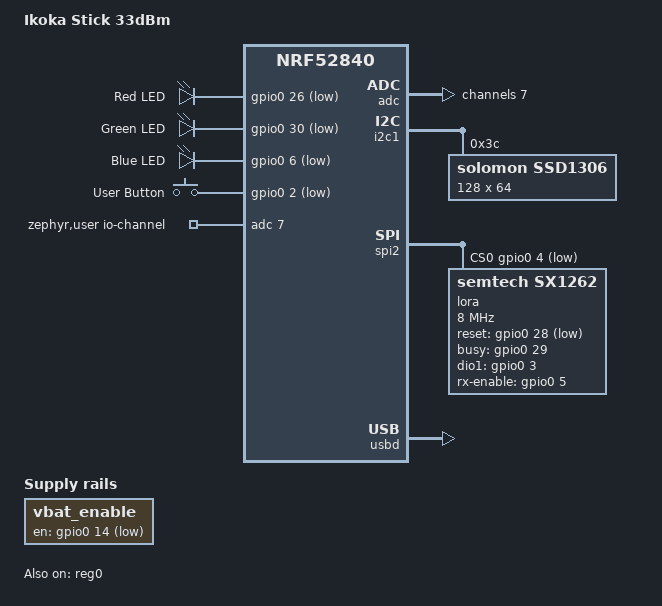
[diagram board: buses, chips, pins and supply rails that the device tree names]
/*
 * SPDX-License-Identifier: Apache-2.0
 * Ikoka Stick 33dBm - XIAO nRF52840 + E22-900M33S LoRa module
 *
 * Reference: https://ndoo.sg/projects:amateur_radio:meshtastic:diy_devices:ikoka_stick
 *
 * E22-900M33S LoRa Module:
 * - SX1262 with integrated 33 dBm (2 W) PA
 * - RXEN (P0.05 / D5) control: HIGH for RX, LOW for TX
 * - SX1262 input power limited to 9 dBm (33 dBm output) — higher values
 *   will permanently damage the module's RF frontend.
 * - DIO2 as RF switch, TCXO 1.8V
 *
 * Pin Mapping (XIAO D-pins to nRF52840 GPIOs):
 *   D0  = P0.02 (User button)   D4 = P0.04 (SX1262 NSS)   D8  = P1.13 (SCK)
 *   D1  = P0.03 (SX1262 DIO1)   D5 = P0.05 (PA RXEN)      D9  = P1.14 (MISO)
 *   D2  = P0.28 (SX1262 RESET)  D6 = P1.11 (I2C SDA)      D10 = P1.15 (MOSI)
 *   D3  = P0.29 (SX1262 BUSY)   D7 = P1.12 (I2C SCL)
 *
 * Peripherals:
 * - User button on D0 with long-press (deep sleep) + multi-tap actions
 * - Optional SSD1306 0.96" OLED @ 0x3C on I2C1 (auto-detected at boot)
 * - Battery ADC on AIN7 (P0.31), enable on P0.14
 * - LEDs: RED=P0.26/D11, BLUE=P0.06/D12, GREEN=P0.30/D13
 */

/dts-v1/;
#include <nordic/nrf52840_qiaa.dtsi>
#include "ikoka_stick_33dbm-pinctrl.dtsi"
#include <zephyr/dt-bindings/adc/nrf-saadc.h>
#include <zephyr/dt-bindings/lora/sx126x.h>

/ {
	model = "Ikoka Stick 33dBm";
	compatible = "ikoka,stick-33dbm";

	chosen {
		zephyr,sram = &sram0;
		zephyr,flash = &flash0;
		zephyr,code-partition = &code_partition;
		zephyr,console = &cdc_acm_uart;
		zephyr,shell-uart = &cdc_acm_uart;
		zephyr,display = &ssd1306;
	};

	aliases {
		lora0 = &lora;
		led0 = &led_red;
		led1 = &led_green;
		led2 = &led_blue;
		watchdog0 = &wdt0;
	};

	/* Status LEDs - active LOW on XIAO */
	leds {
		compatible = "gpio-leds";
		led_red: led_0 {
			gpios = <&gpio0 26 GPIO_ACTIVE_LOW>;
			label = "Red LED";
		};
		led_green: led_1 {
			gpios = <&gpio0 30 GPIO_ACTIVE_LOW>;
			label = "Green LED";
		};
		led_blue: led_2 {
			gpios = <&gpio0 6 GPIO_ACTIVE_LOW>;
			label = "Blue LED";
		};
	};

	/* User button on D0 (P0.02), active LOW with internal pull-up.
	 * Matches the pinout of the Seeed XIAO nRF52840 base board. */
	buttons: buttons {
		compatible = "gpio-keys";

		user_button: button_0 {
			gpios = <&gpio0 2 (GPIO_PULL_UP | GPIO_ACTIVE_LOW)>;
			zephyr,code = <INPUT_KEY_0>;
			label = "User Button";
		};
	};

	/* Long-press = deep sleep (≥1 s), short = feeds into multi-tap */
	user_btn_longpress {
		compatible = "zephyr,input-longpress";
		input = <&buttons>;
		input-codes = <INPUT_KEY_0>;
		short-codes = <INPUT_KEY_A>;
		long-codes = <INPUT_KEY_POWER>;
		long-delay-ms = <1000>;
	};

	/* Multi-tap — standard ZephCore mapping:
	 *   1 tap → page next        2 taps → flood advert
	 *   3 taps → buzzer mute     4 taps → GPS toggle
	 *   5 taps → LED heartbeat   */
	user_btn_multitap {
		compatible = "zephcore,input-multi-tap";
		input-codes = <INPUT_KEY_A>;
		tap-codes = <INPUT_KEY_1 INPUT_KEY_B INPUT_KEY_D INPUT_KEY_C INPUT_KEY_E>;
		tap-delay-ms = <400>;
	};

	/* Battery ADC enable - P0.14 must be LOW to read battery */
	vbat_enable: vbat-enable {
		compatible = "regulator-fixed";
		regulator-name = "vbat-enable";
		enable-gpios = <&gpio0 14 GPIO_ACTIVE_LOW>;
		regulator-boot-on;
	};

	/* Battery ADC channel */
	zephyr,user {
		io-channels = <&adc 7>;
		vbat-mv-multiplier = <10650>;  /* 1M/510k divider (2.96x), 3.6V ref */
	};
};

&reg0 {
	status = "okay";
};

&reg1 {
	regulator-initial-mode = <NRF5X_REG_MODE_DCDC>;
};

&adc {
	status = "okay";
	#address-cells = <1>;
	#size-cells = <0>;

	channel@7 {
		reg = <7>;
		zephyr,gain = "ADC_GAIN_1_6";
		zephyr,reference = "ADC_REF_INTERNAL";
		zephyr,acquisition-time = <ADC_ACQ_TIME(ADC_ACQ_TIME_MICROSECONDS, 10)>;
		zephyr,input-positive = <NRF_SAADC_AIN7>;
		zephyr,resolution = <12>;
	};
};

&uicr {
	gpio-as-nreset;
};

&gpiote {
	status = "okay";
};

&gpio0 {
	status = "okay";
};

&gpio1 {
	status = "okay";
};

/* UART0 is not wired on this board — console/shell use USB-CDC */
&uart0 {
	status = "disabled";
};

/* I2C1 on D6/D7 for optional SSD1306 OLED and any external sensors.
 *
 * Uses TWIM (not TWI) so the driver can issue SSD1306 page writes
 * (1 cmd + 128 data = 129 bytes) in a single transaction — the
 * concat-buf-size of 256 covers the full page.
 */
&i2c1 {
	compatible = "nordic,nrf-twim";
	status = "okay";
	pinctrl-0 = <&i2c1_default>;
	pinctrl-1 = <&i2c1_sleep>;
	pinctrl-names = "default", "sleep";
	zephyr,concat-buf-size = <256>;

	/* Optional SSD1306 0.96" OLED at 0x3C.
	 *
	 * The Stick's OLED is optional per the ndoo.sg design. If the
	 * physical part is absent, zephcore's display helper returns
	 * -ENODEV and the firmware continues without a display —
	 * leaving the node declared unconditionally is safe. */
	ssd1306: ssd1306@3c {
		compatible = "solomon,ssd1306";
		reg = <0x3c>;
		width = <128>;
		height = <64>;
		segment-offset = <0>;
		page-offset = <0>;
		display-offset = <0>;
		multiplex-ratio = <63>;
		segment-remap;
		com-invdir;
		inversion-on;
		prechargep = <0x22>;
	};

	/* All supported environment & power sensors — auto-detected at runtime */
	#include "../../common/sensors-i2c.dtsi"
};

/* SPI2 for LoRa module */
&spi2 {
	compatible = "nordic,nrf-spi";
	status = "okay";
	pinctrl-0 = <&spi2_default>;
	pinctrl-1 = <&spi2_sleep>;
	pinctrl-names = "default", "sleep";
	cs-gpios = <&gpio0 4 GPIO_ACTIVE_LOW>;  /* D4 = P0.04 NSS */

	lora: lora@0 {
		compatible = "semtech,sx1262";
		reg = <0>;
		spi-max-frequency = <8000000>;

		/* LoRa control pins */
		reset-gpios = <&gpio0 28 GPIO_ACTIVE_LOW>;    /* D2 = P0.28 */
		busy-gpios  = <&gpio0 29 GPIO_ACTIVE_HIGH>;   /* D3 = P0.29 */
		dio1-gpios  = <&gpio0 3 (GPIO_PULL_DOWN | GPIO_ACTIVE_HIGH)>;  /* D1 = P0.03 */

		/* E22-900M33S PA control: HIGH = RX, LOW = TX */
		rx-enable-gpios = <&gpio0 5 GPIO_ACTIVE_HIGH>;  /* D5 = P0.05 RXEN */

		/* Use DIO2 to drive TX enable on the internal RF switch */
		dio2-tx-enable;

		/* TCXO voltage 1.8V */
		dio3-tcxo-voltage = <SX126X_DIO3_TCXO_1V8>;
		tcxo-power-startup-delay-ms = <10>;

		/* Enable RX boosted mode for better sensitivity */
		rx-boosted;
	};
};

/* QSPI Flash - disabled, matching the 30 dBm sibling. XIAO nRF52840's
 * onboard P25Q16H is not used in this firmware; the internal nRF52840
 * flash provides storage. Re-enable with status = "okay" if needed. */
&qspi {
	status = "disabled";
};

/* USB CDC for console/CLI */
zephyr_udc0: &usbd {
	compatible = "nordic,nrf-usbd";
	status = "okay";

	cdc_acm_uart: cdc_acm_uart {
		compatible = "zephyr,cdc-acm-uart";
	};
};

/* Arduino MeshCore compatible partition layout (SoftDevice v7) */
#include "../../common/nrf52_partitions_sdv7.dtsi"

/* Mark the 'buttons' node as a System OFF wakeup source.
 * Only valid when the board has a `buttons` label (i.e. a user button). */
#include "../../common/nrf52_wakeup.dtsi"
